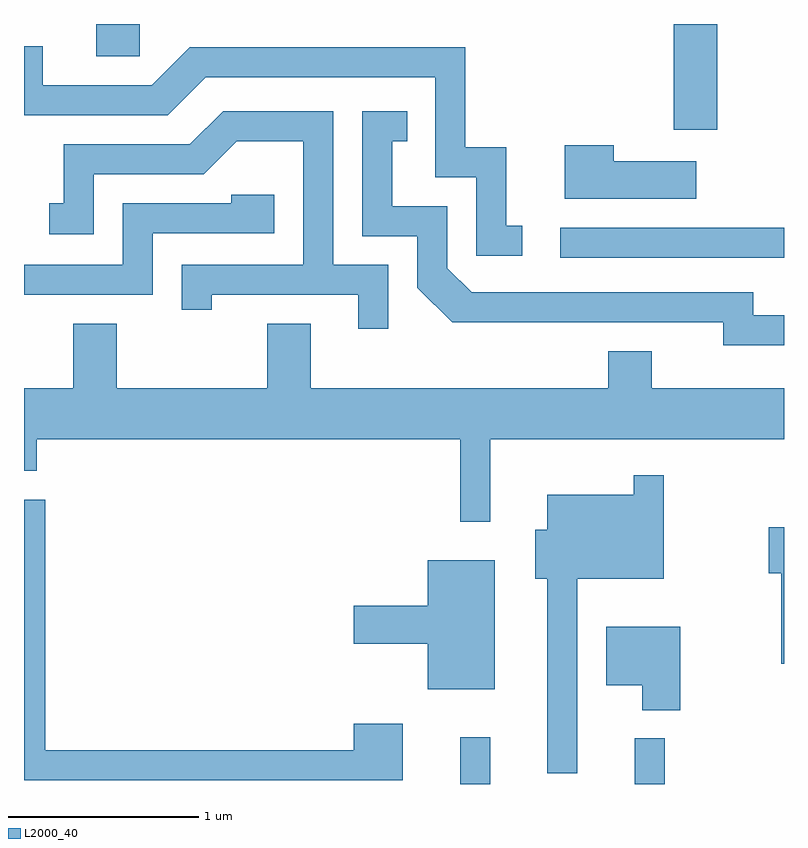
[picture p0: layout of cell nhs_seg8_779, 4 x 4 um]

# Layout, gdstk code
import gdstk
lib = gdstk.Library(unit=1e-6, precision=1e-09)
def R(c, l, rs):  # rectangles x0, y0, x1, y1
    for r in rs: c.add(gdstk.rectangle(r[:2], r[2:], *l))
def P(c, l, *ps):  # polygons
    for p in ps: c.add(gdstk.Polygon(p, *l))
L2000_40 = (2000, 40)

nhs_seg8_779 = lib.new_cell('nhs_seg8_779')
R(nhs_seg8_779, L2000_40, [(209.906,1872.342,210.064,1872.588), (210.826,1872.342,210.984,1872.583), (210.433,1875.111,211.611,1875.269), (211.031,1875.786,211.259,1876.342), (207.991,1876.171,208.219,1876.342)])
P(nhs_seg8_779, L2000_40, [(210.233,1875.279),(210.149,1875.279),(210.149,1875.694),(209.934,1875.694),(209.934,1876.219),(208.484,1876.219),(208.284,1876.019),(207.709,1876.019),(207.709,1876.224),(207.611,1876.224),(207.611,1875.861),(208.367,1875.861),(208.567,1876.061),(209.776,1876.061),(209.776,1875.536),(209.991,1875.536),(209.991,1875.121),(210.233,1875.121)],
  [(209.529,1875.074),(209.239,1875.074),(209.239,1875.884),(208.659,1875.884),(208.484,1875.709),(207.821,1875.709),(207.821,1875.399),(207.743,1875.399),(207.743,1875.236),(207.979,1875.236),(207.979,1875.551),(208.557,1875.551),(208.732,1875.726),(209.081,1875.726),(209.081,1875.074),(208.441,1875.074),(208.441,1874.838),(208.599,1874.838),(208.599,1874.916),(209.371,1874.916),(209.371,1874.738),(209.529,1874.738)],
  [(211.611,1874.809),(211.449,1874.809),(211.449,1874.929),(209.967,1874.929),(209.839,1875.057),(209.839,1875.384),(209.549,1875.384),(209.549,1875.726),(209.628,1875.726),(209.628,1875.884),(209.391,1875.884),(209.391,1875.226),(209.681,1875.226),(209.681,1874.954),(209.864,1874.771),(211.291,1874.771),(211.291,1874.651),(211.611,1874.651)],
  [(211.149,1875.619),(210.714,1875.619),(210.714,1875.704),(210.456,1875.704),(210.456,1875.421),(211.149,1875.421)],
  [(208.289,1875.241),(208.929,1875.241),(208.929,1875.444),(208.701,1875.444),(208.701,1875.399),(208.131,1875.399),(208.131,1875.074),(207.611,1875.074),(207.611,1874.916),(208.289,1874.916)],
  [(210.064,1874.156),(211.611,1874.156),(211.611,1874.424),(210.914,1874.424),(210.914,1874.619),(210.686,1874.619),(210.686,1874.424),(209.119,1874.424),(209.119,1874.764),(208.891,1874.764),(208.891,1874.424),(208.099,1874.424),(208.099,1874.764),(207.871,1874.764),(207.871,1874.424),(207.611,1874.424),(207.611,1873.991),(207.679,1873.991),(207.679,1874.156),(209.906,1874.156),(209.906,1873.723),(210.064,1873.723)],
  [(210.524,1873.421),(210.979,1873.421),(210.979,1873.968),(210.821,1873.968),(210.821,1873.864),(210.366,1873.864),(210.366,1873.679),(210.301,1873.679),(210.301,1873.421),(210.366,1873.421),(210.366,1872.398),(210.524,1872.398)],
  [(209.604,1872.659),(209.346,1872.659),(209.346,1872.519),(207.724,1872.519),(207.724,1873.839),(207.611,1873.839),(207.611,1872.361),(209.604,1872.361)],
  [(211.611,1873.694),(211.531,1873.694),(211.531,1873.451),(211.596,1873.451),(211.596,1872.976),(211.611,1872.976)],
  [(210.089,1873.519),(209.736,1873.519),(209.736,1873.279),(209.346,1873.279),(209.346,1873.081),(209.736,1873.081),(209.736,1872.841),(210.089,1872.841)],
  [(211.064,1873.169),(210.676,1873.169),(210.676,1872.861),(210.866,1872.861),(210.866,1872.731),(211.064,1872.731)])

lib.write_gds('nhs_seg8_779.gds')
